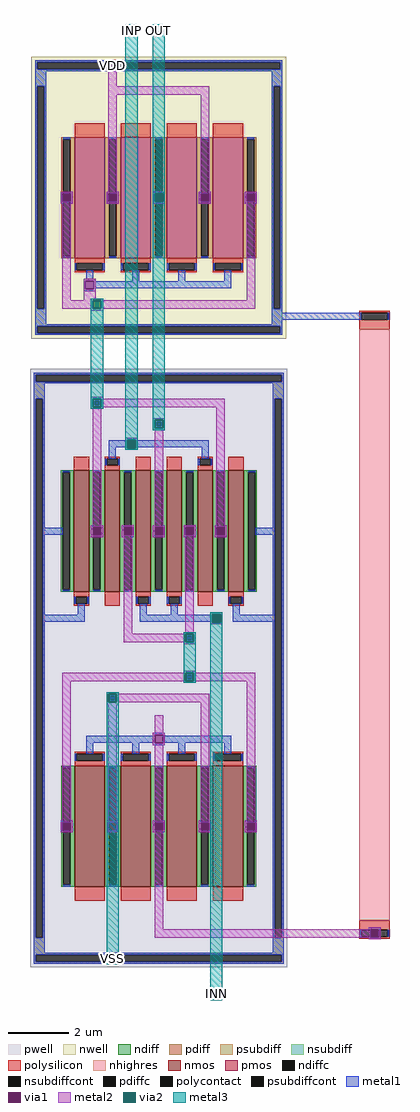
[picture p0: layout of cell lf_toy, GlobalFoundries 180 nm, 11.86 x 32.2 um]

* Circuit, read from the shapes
.subckt lf_toy OUT VDD VSS INP INN
XM1 n1 VSS VSS VSS nfet_03v3 w=4u l=0.5u m=2
XM2 VSS n2 n3 VSS nfet_03v3 w=4u l=1u m=2
XM3 n3 INP n1 VSS nfet_03v3 w=4u l=0.5u m=2
XM4 n2 n2 VSS VSS nfet_03v3 w=4u l=1u m=2
XM5 OUT INN n3 VSS nfet_03v3 w=4u l=0.5u m=2
XM6 VDD n1 n1 VDD pfet_03v3 w=4u l=1u m=2
XM7 OUT n1 VDD VDD pfet_03v3 w=4u l=1u m=2
XR8 VDD n2 VSS ppolyf_u_1k r_width=1u r_length=19.5u
.ends

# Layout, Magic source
magic
tech gf180mcuD
magscale 1 10
<< nwell >>
rect -840 3218 840 5078
<< pwell >>
rect -848 -930 848 3018
<< nmos >>
rect -560 1548 -460 2348
rect -356 1548 -256 2348
rect -152 1548 -52 2348
rect 52 1548 152 2348
rect 256 1548 356 2348
rect 460 1548 560 2348
rect -556 -400 -356 400
rect -252 -400 -52 400
rect 52 -400 252 400
rect 356 -400 556 400
<< pmos >>
rect -556 3748 -356 4548
rect -252 3748 -52 4548
rect 52 3748 252 4548
rect 356 3748 556 4548
<< ndiff >>
rect -648 2335 -560 2348
rect -648 1561 -635 2335
rect -589 1561 -560 2335
rect -648 1548 -560 1561
rect -460 2335 -356 2348
rect -460 1561 -431 2335
rect -385 1561 -356 2335
rect -460 1548 -356 1561
rect -256 2335 -152 2348
rect -256 1561 -227 2335
rect -181 1561 -152 2335
rect -256 1548 -152 1561
rect -52 2335 52 2348
rect -52 1561 -23 2335
rect 23 1561 52 2335
rect -52 1548 52 1561
rect 152 2335 256 2348
rect 152 1561 181 2335
rect 227 1561 256 2335
rect 152 1548 256 1561
rect 356 2335 460 2348
rect 356 1561 385 2335
rect 431 1561 460 2335
rect 356 1548 460 1561
rect 560 2335 648 2348
rect 560 1561 589 2335
rect 635 1561 648 2335
rect 560 1548 648 1561
rect -644 387 -556 400
rect -644 -387 -631 387
rect -585 -387 -556 387
rect -644 -400 -556 -387
rect -356 387 -252 400
rect -356 -387 -327 387
rect -281 -387 -252 387
rect -356 -400 -252 -387
rect -52 387 52 400
rect -52 -387 -23 387
rect 23 -387 52 387
rect -52 -400 52 -387
rect 252 387 356 400
rect 252 -387 281 387
rect 327 -387 356 387
rect 252 -400 356 -387
rect 556 387 644 400
rect 556 -387 585 387
rect 631 -387 644 387
rect 556 -400 644 -387
<< pdiff >>
rect -644 4535 -556 4548
rect -644 3761 -631 4535
rect -585 3761 -556 4535
rect -644 3748 -556 3761
rect -356 4535 -252 4548
rect -356 3761 -327 4535
rect -281 3761 -252 4535
rect -356 3748 -252 3761
rect -52 4535 52 4548
rect -52 3761 -23 4535
rect 23 3761 52 4535
rect -52 3748 52 3761
rect 252 4535 356 4548
rect 252 3761 281 4535
rect 327 3761 356 4535
rect 252 3748 356 3761
rect 556 4535 644 4548
rect 556 3761 585 4535
rect 631 3761 644 4535
rect 556 3748 644 3761
<< ndiffc >>
rect -635 1561 -589 2335
rect -431 1561 -385 2335
rect -227 1561 -181 2335
rect -23 1561 23 2335
rect 181 1561 227 2335
rect 385 1561 431 2335
rect 589 1561 635 2335
rect -631 -387 -585 387
rect -327 -387 -281 387
rect -23 -387 23 387
rect 281 -387 327 387
rect 585 -387 631 387
<< pdiffc >>
rect -631 3761 -585 4535
rect -327 3761 -281 4535
rect -23 3761 23 4535
rect 281 3761 327 4535
rect 585 3761 631 4535
<< psubdiff >>
rect -824 2981 824 2994
rect -824 2935 -811 2981
rect 811 2935 824 2981
rect -824 2922 824 2935
rect -824 2822 -752 2922
rect -824 -734 -811 2822
rect -765 -734 -752 2822
rect 752 2822 824 2922
rect -824 -834 -752 -734
rect 752 -734 765 2822
rect 811 -734 824 2822
rect 752 -834 824 -734
rect -824 -847 824 -834
rect -824 -893 -811 -847
rect 811 -893 824 -847
rect -824 -906 824 -893
<< nsubdiff >>
rect -816 5041 816 5054
rect -816 4995 -803 5041
rect 803 4995 816 5041
rect -816 4982 816 4995
rect -816 4882 -744 4982
rect -816 3414 -803 4882
rect -757 3414 -744 4882
rect 744 4882 816 4982
rect -816 3314 -744 3414
rect 744 3414 757 4882
rect 803 3414 816 4882
rect 744 3314 816 3414
rect -816 3301 816 3314
rect -816 3255 -803 3301
rect 803 3255 816 3301
rect -816 3242 816 3255
<< psubdiffcont >>
rect -811 2935 811 2981
rect -811 -734 -765 2822
rect 765 -734 811 2822
rect -811 -893 811 -847
<< nsubdiffcont >>
rect -803 4995 803 5041
rect -803 3414 -757 4882
rect 757 3414 803 4882
rect -803 3255 803 3301
<< polysilicon >>
rect -556 4548 -356 4640
rect -252 4548 -52 4640
rect 52 4548 252 4640
rect 356 4548 556 4640
rect -556 3715 -356 3748
rect -556 3669 -543 3715
rect -369 3669 -356 3715
rect -556 3656 -356 3669
rect -252 3715 -52 3748
rect -252 3669 -239 3715
rect -65 3669 -52 3715
rect -252 3656 -52 3669
rect 52 3715 252 3748
rect 52 3669 65 3715
rect 239 3669 252 3715
rect 52 3656 252 3669
rect 356 3715 556 3748
rect 356 3669 369 3715
rect 543 3669 556 3715
rect 356 3656 556 3669
rect 1324 3389 1524 3402
rect 1324 3343 1337 3389
rect 1511 3343 1524 3389
rect 1324 3280 1524 3343
rect -560 2348 -460 2440
rect -356 2427 -256 2440
rect -356 2381 -343 2427
rect -269 2381 -256 2427
rect -356 2348 -256 2381
rect -152 2348 -52 2440
rect 52 2348 152 2440
rect 256 2427 356 2440
rect 256 2381 269 2427
rect 343 2381 356 2427
rect 256 2348 356 2381
rect 460 2348 560 2440
rect -560 1515 -460 1548
rect -560 1469 -547 1515
rect -473 1469 -460 1515
rect -560 1456 -460 1469
rect -356 1456 -256 1548
rect -152 1515 -52 1548
rect -152 1469 -139 1515
rect -65 1469 -52 1515
rect -152 1456 -52 1469
rect 52 1515 152 1548
rect 52 1469 65 1515
rect 139 1469 152 1515
rect 52 1456 152 1469
rect 256 1456 356 1548
rect 460 1515 560 1548
rect 460 1469 473 1515
rect 547 1469 560 1515
rect 460 1456 560 1469
rect -556 479 -356 492
rect -556 433 -543 479
rect -369 433 -356 479
rect -556 400 -356 433
rect -252 479 -52 492
rect -252 433 -239 479
rect -65 433 -52 479
rect -252 400 -52 433
rect 52 479 252 492
rect 52 433 65 479
rect 239 433 252 479
rect 52 400 252 433
rect 356 479 556 492
rect 356 433 369 479
rect 543 433 556 479
rect 356 400 556 433
rect -556 -492 -356 -400
rect -252 -492 -52 -400
rect 52 -492 252 -400
rect 356 -492 556 -400
rect 1324 -683 1524 -620
rect 1324 -729 1337 -683
rect 1511 -729 1524 -683
rect 1324 -742 1524 -729
<< polycontact >>
rect -543 3669 -369 3715
rect -239 3669 -65 3715
rect 65 3669 239 3715
rect 369 3669 543 3715
rect 1337 3343 1511 3389
rect -343 2381 -269 2427
rect 269 2381 343 2427
rect -547 1469 -473 1515
rect -139 1469 -65 1515
rect 65 1469 139 1515
rect 473 1469 547 1515
rect -543 433 -369 479
rect -239 433 -65 479
rect 65 433 239 479
rect 369 433 543 479
rect 1337 -729 1511 -683
<< nhighres >>
rect 1324 -620 1524 3280
<< metal1 >>
rect -344 5054 -264 5058
rect -816 5046 816 5054
rect -816 5041 -332 5046
rect -276 5041 816 5046
rect -816 4995 -803 5041
rect 803 4995 816 5041
rect -816 4990 -332 4995
rect -276 4990 816 4995
rect -816 4982 816 4990
rect -816 4882 -744 4982
rect -344 4978 -264 4982
rect -816 3414 -803 4882
rect -757 3414 -744 4882
rect 744 4882 816 4982
rect -631 4535 -585 4546
rect -648 4176 -631 4188
rect -327 4535 -281 4546
rect -585 4176 -568 4188
rect -648 4120 -636 4176
rect -580 4120 -568 4176
rect -648 4108 -631 4120
rect -585 4108 -568 4120
rect -344 4176 -327 4188
rect -23 4535 23 4546
rect -281 4176 -264 4188
rect -344 4120 -332 4176
rect -276 4120 -264 4176
rect -344 4108 -327 4120
rect -631 3750 -585 3761
rect -281 4108 -264 4120
rect -40 4176 -23 4188
rect 281 4535 327 4546
rect 23 4176 40 4188
rect -40 4120 -28 4176
rect 28 4120 40 4176
rect -40 4108 -23 4120
rect -327 3750 -281 3761
rect 23 4108 40 4120
rect 264 4176 281 4188
rect 585 4535 631 4546
rect 327 4176 344 4188
rect 264 4120 276 4176
rect 332 4120 344 4176
rect 264 4108 281 4120
rect -23 3750 23 3761
rect 327 4108 344 4120
rect 568 4176 585 4188
rect 631 4176 648 4188
rect 568 4120 580 4176
rect 636 4120 648 4176
rect 568 4108 585 4120
rect 281 3750 327 3761
rect 631 4108 648 4120
rect 585 3750 631 3761
rect -554 3669 -543 3715
rect -369 3669 -358 3715
rect -250 3669 -239 3715
rect -65 3669 -54 3715
rect 54 3669 65 3715
rect 239 3669 250 3715
rect 358 3669 369 3715
rect 543 3669 554 3715
rect -479 3612 -433 3669
rect -496 3600 -416 3612
rect -496 3544 -484 3600
rect -428 3595 -416 3600
rect -175 3595 -129 3669
rect 129 3595 175 3669
rect 433 3595 479 3669
rect -428 3549 479 3595
rect -428 3544 -416 3549
rect -496 3532 -416 3544
rect -816 3314 -744 3414
rect 744 3414 757 4882
rect 803 3414 816 4882
rect 744 3389 816 3414
rect 744 3343 1337 3389
rect 1511 3343 1522 3389
rect 744 3314 816 3343
rect -816 3301 816 3314
rect -816 3255 -803 3301
rect 803 3255 816 3301
rect -816 3242 816 3255
rect -824 2981 824 2994
rect -824 2935 -811 2981
rect 811 2935 824 2981
rect -824 2922 824 2935
rect -824 2822 -752 2922
rect -824 -734 -811 2822
rect -765 1971 -752 2822
rect 752 2822 824 2922
rect -220 2552 -140 2564
rect -220 2547 -208 2552
rect -329 2501 -208 2547
rect -329 2427 -283 2501
rect -220 2496 -208 2501
rect -152 2547 -140 2552
rect -152 2501 329 2547
rect -152 2496 -140 2501
rect -220 2484 -140 2496
rect 283 2427 329 2501
rect -354 2381 -343 2427
rect -269 2381 -258 2427
rect 258 2381 269 2427
rect 343 2381 354 2427
rect -635 2335 -589 2346
rect -765 1925 -635 1971
rect -765 1395 -752 1925
rect -431 2335 -385 2346
rect -448 1976 -431 1988
rect -227 2335 -181 2346
rect -385 1976 -368 1988
rect -448 1920 -436 1976
rect -380 1920 -368 1976
rect -448 1908 -431 1920
rect -635 1550 -589 1561
rect -385 1908 -368 1920
rect -244 1976 -227 1988
rect -23 2335 23 2346
rect -181 1976 -164 1988
rect -244 1920 -232 1976
rect -176 1920 -164 1976
rect -244 1908 -227 1920
rect -431 1550 -385 1561
rect -181 1908 -164 1920
rect -40 1976 -23 1988
rect 181 2335 227 2346
rect 23 1976 40 1988
rect -40 1920 -28 1976
rect 28 1920 40 1976
rect -40 1908 -23 1920
rect -227 1550 -181 1561
rect 23 1908 40 1920
rect 164 1976 181 1988
rect 385 2335 431 2346
rect 227 1976 244 1988
rect 164 1920 176 1976
rect 232 1920 244 1976
rect 164 1908 181 1920
rect -23 1550 23 1561
rect 227 1908 244 1920
rect 368 1976 385 1988
rect 589 2335 635 2346
rect 431 1976 448 1988
rect 368 1920 380 1976
rect 436 1920 448 1976
rect 368 1908 385 1920
rect 181 1550 227 1561
rect 431 1908 448 1920
rect 385 1550 431 1561
rect 752 1971 765 2822
rect 635 1925 765 1971
rect 589 1550 635 1561
rect -558 1469 -547 1515
rect -473 1469 -462 1515
rect -150 1469 -139 1515
rect -65 1469 -54 1515
rect 54 1469 65 1515
rect 139 1469 150 1515
rect 462 1469 473 1515
rect 547 1469 558 1515
rect -533 1395 -487 1469
rect -765 1349 -487 1395
rect -125 1395 -79 1469
rect 79 1395 125 1469
rect 340 1400 420 1412
rect 340 1395 352 1400
rect -125 1349 352 1395
rect -765 -734 -752 1349
rect 340 1344 352 1349
rect 408 1344 420 1400
rect 487 1395 533 1469
rect 752 1395 765 1925
rect 487 1349 765 1395
rect 340 1332 420 1344
rect -40 604 40 616
rect -40 599 -28 604
rect -479 553 -28 599
rect -479 479 -433 553
rect -175 479 -129 553
rect -40 548 -28 553
rect 28 599 40 604
rect 28 553 479 599
rect 28 548 40 553
rect -40 536 40 548
rect 129 479 175 553
rect 433 479 479 553
rect -554 433 -543 479
rect -369 433 -358 479
rect -250 433 -239 479
rect -65 433 -54 479
rect 54 433 65 479
rect 239 433 250 479
rect 358 433 369 479
rect 543 433 554 479
rect -631 387 -585 398
rect -648 28 -631 40
rect -327 387 -281 398
rect -585 28 -568 40
rect -648 -28 -636 28
rect -580 -28 -568 28
rect -648 -40 -631 -28
rect -585 -40 -568 -28
rect -344 28 -327 40
rect -23 387 23 398
rect -281 28 -264 40
rect -344 -28 -332 28
rect -276 -28 -264 28
rect -344 -40 -327 -28
rect -631 -398 -585 -387
rect -281 -40 -264 -28
rect -40 28 -23 40
rect 281 387 327 398
rect 23 28 40 40
rect -40 -28 -28 28
rect 28 -28 40 28
rect -40 -40 -23 -28
rect -327 -398 -281 -387
rect 23 -40 40 -28
rect 264 28 281 40
rect 585 387 631 398
rect 327 28 344 40
rect 264 -28 276 28
rect 332 -28 344 28
rect 264 -40 281 -28
rect -23 -398 23 -387
rect 327 -40 344 -28
rect 568 28 585 40
rect 631 28 648 40
rect 568 -28 580 28
rect 636 -28 648 28
rect 568 -40 585 -28
rect 281 -398 327 -387
rect 631 -40 648 -28
rect 585 -398 631 -387
rect -824 -834 -752 -734
rect 752 -734 765 1349
rect 811 -734 824 2822
rect 1384 -678 1464 -666
rect 1384 -683 1396 -678
rect 1452 -683 1464 -678
rect 1326 -729 1337 -683
rect 1511 -729 1522 -683
rect -344 -834 -264 -830
rect 752 -834 824 -734
rect 1384 -734 1396 -729
rect 1452 -734 1464 -729
rect 1384 -746 1464 -734
rect -824 -842 824 -834
rect -824 -847 -332 -842
rect -276 -847 824 -842
rect -824 -893 -811 -847
rect 811 -893 824 -847
rect -824 -898 -332 -893
rect -276 -898 824 -893
rect -824 -906 824 -898
rect -344 -910 -264 -906
<< via1 >>
rect -332 5041 -276 5046
rect -332 4995 -276 5041
rect -332 4990 -276 4995
rect -636 4120 -631 4176
rect -631 4120 -585 4176
rect -585 4120 -580 4176
rect -332 4120 -327 4176
rect -327 4120 -281 4176
rect -281 4120 -276 4176
rect -28 4120 -23 4176
rect -23 4120 23 4176
rect 23 4120 28 4176
rect 276 4120 281 4176
rect 281 4120 327 4176
rect 327 4120 332 4176
rect 580 4120 585 4176
rect 585 4120 631 4176
rect 631 4120 636 4176
rect -484 3544 -428 3600
rect -208 2496 -152 2552
rect -436 1920 -431 1976
rect -431 1920 -385 1976
rect -385 1920 -380 1976
rect -232 1920 -227 1976
rect -227 1920 -181 1976
rect -181 1920 -176 1976
rect -28 1920 -23 1976
rect -23 1920 23 1976
rect 23 1920 28 1976
rect 176 1920 181 1976
rect 181 1920 227 1976
rect 227 1920 232 1976
rect 380 1920 385 1976
rect 385 1920 431 1976
rect 431 1920 436 1976
rect 352 1344 408 1400
rect -28 548 28 604
rect -636 -28 -631 28
rect -631 -28 -585 28
rect -585 -28 -580 28
rect -332 -28 -327 28
rect -327 -28 -281 28
rect -281 -28 -276 28
rect -28 -28 -23 28
rect -23 -28 23 28
rect 23 -28 28 28
rect 276 -28 281 28
rect 281 -28 327 28
rect 327 -28 332 28
rect 580 -28 585 28
rect 585 -28 631 28
rect 631 -28 636 28
rect 1396 -683 1452 -678
rect 1396 -729 1452 -683
rect 1396 -734 1452 -729
rect -332 -847 -276 -842
rect -332 -893 -276 -847
rect -332 -898 -276 -893
<< metal2 >>
rect -344 5046 -264 5058
rect -344 4990 -332 5046
rect -276 4990 -264 5046
rect -344 4978 -264 4990
rect -332 4882 -276 4978
rect -332 4826 332 4882
rect -332 4188 -276 4826
rect 276 4188 332 4826
rect -648 4176 -568 4188
rect -648 4120 -636 4176
rect -580 4120 -568 4176
rect -648 4108 -568 4120
rect -344 4176 -264 4188
rect -344 4120 -332 4176
rect -276 4120 -264 4176
rect -344 4108 -264 4120
rect -40 4176 40 4188
rect -40 4120 -28 4176
rect 28 4120 40 4176
rect -40 4108 40 4120
rect 264 4176 344 4188
rect 264 4120 276 4176
rect 332 4120 344 4176
rect 264 4108 344 4120
rect 568 4176 648 4188
rect 568 4120 580 4176
rect 636 4120 648 4176
rect 568 4108 648 4120
rect -636 3470 -580 4108
rect -496 3600 -416 3612
rect -496 3544 -484 3600
rect -428 3544 -416 3600
rect -496 3482 -416 3544
rect -496 3470 -368 3482
rect 580 3470 636 4108
rect -636 3414 -436 3470
rect -380 3414 636 3470
rect -448 3402 -368 3414
rect -448 2822 -368 2834
rect -448 2766 -436 2822
rect -380 2766 436 2822
rect -448 2754 -368 2766
rect -436 1988 -380 2754
rect -40 2682 40 2694
rect -40 2626 -28 2682
rect 28 2626 40 2682
rect -40 2614 40 2626
rect -220 2552 -140 2564
rect -220 2496 -208 2552
rect -152 2496 -140 2552
rect -220 2484 -140 2496
rect -28 1988 28 2614
rect 380 1988 436 2766
rect -448 1976 -368 1988
rect -448 1920 -436 1976
rect -380 1920 -368 1976
rect -448 1908 -368 1920
rect -244 1976 -164 1988
rect -244 1920 -232 1976
rect -176 1920 -164 1976
rect -244 1908 -164 1920
rect -40 1976 40 1988
rect -40 1920 -28 1976
rect 28 1920 40 1976
rect -40 1908 40 1920
rect 164 1976 244 1988
rect 164 1920 176 1976
rect 232 1920 244 1976
rect 164 1908 244 1920
rect 368 1976 448 1988
rect 368 1920 380 1976
rect 436 1920 448 1976
rect 368 1908 448 1920
rect -232 1270 -176 1908
rect 176 1282 232 1908
rect 340 1400 420 1412
rect 340 1344 352 1400
rect 408 1344 420 1400
rect 340 1332 420 1344
rect 164 1270 244 1282
rect -232 1214 176 1270
rect 232 1214 244 1270
rect 164 1202 244 1214
rect 164 1014 244 1026
rect -636 958 176 1014
rect 232 958 636 1014
rect -636 40 -580 958
rect 164 946 244 958
rect -344 874 -264 886
rect -344 818 -332 874
rect -276 818 332 874
rect -344 806 -264 818
rect -332 40 -276 806
rect -28 616 28 734
rect -40 604 40 616
rect -40 548 -28 604
rect 28 548 40 604
rect -40 536 40 548
rect -28 40 28 536
rect 276 40 332 818
rect 580 40 636 958
rect -648 28 -568 40
rect -648 -28 -636 28
rect -580 -28 -568 28
rect -648 -40 -568 -28
rect -344 28 -264 40
rect -344 -28 -332 28
rect -276 -28 -264 28
rect -344 -40 -264 -28
rect -40 28 40 40
rect -40 -28 -28 28
rect 28 -28 40 28
rect -40 -40 40 -28
rect 264 28 344 40
rect 264 -28 276 28
rect 332 -28 344 28
rect 264 -40 344 -28
rect 568 28 648 40
rect 568 -28 580 28
rect 636 -28 648 28
rect 568 -40 648 -28
rect -28 -678 28 -40
rect 1384 -678 1464 -666
rect -28 -734 1396 -678
rect 1452 -734 1464 -678
rect 1384 -746 1464 -734
rect -344 -842 -264 -830
rect -344 -898 -332 -842
rect -276 -898 -264 -842
rect -344 -910 -264 -898
<< via2 >>
rect -28 4120 28 4176
rect -436 3414 -380 3470
rect -436 2766 -380 2822
rect -28 2626 28 2682
rect -208 2496 -152 2552
rect 352 1344 408 1400
rect 176 1214 232 1270
rect 176 958 232 1014
rect -332 818 -276 874
rect -332 -898 -276 -842
<< metal3 >>
rect -448 3470 -368 3482
rect -448 3414 -436 3470
rect -380 3414 -368 3470
rect -448 2822 -368 3414
rect -448 2766 -436 2822
rect -380 2766 -368 2822
rect -448 2754 -368 2766
rect -220 2552 -140 5294
rect -40 4176 40 5294
rect -40 4120 -28 4176
rect 28 4120 40 4176
rect -40 2682 40 4120
rect -40 2626 -28 2682
rect 28 2626 40 2682
rect -40 2614 40 2626
rect -220 2496 -208 2552
rect -152 2496 -140 2552
rect -220 2484 -140 2496
rect 340 1400 420 1412
rect 340 1344 352 1400
rect 408 1344 420 1400
rect 164 1270 244 1282
rect 164 1214 176 1270
rect 232 1214 244 1270
rect 164 1014 244 1214
rect 164 958 176 1014
rect 232 958 244 1014
rect 164 946 244 958
rect -344 874 -264 886
rect -344 818 -332 874
rect -276 818 -264 874
rect -344 -842 -264 818
rect -344 -898 -332 -842
rect -276 -898 -264 -842
rect -344 -910 -264 -898
rect 340 -1146 420 1344
<< labels >>
flabel metal3 0 5254 0 5254 0 FreeSans 480 0 0 0 OUT
port 1 nsew
flabel via1 -304 5018 -304 5018 0 FreeSans 480 0 0 0 VDD
port 2 nsew
flabel via2 -304 -870 -304 -870 0 FreeSans 480 0 0 0 VSS
port 3 nsew
flabel metal3 -180 5254 -180 5254 0 FreeSans 480 0 0 0 INP
port 4 nsew
flabel metal3 380 -1106 380 -1106 0 FreeSans 480 0 0 0 INN
port 5 nsew
<< end >>
